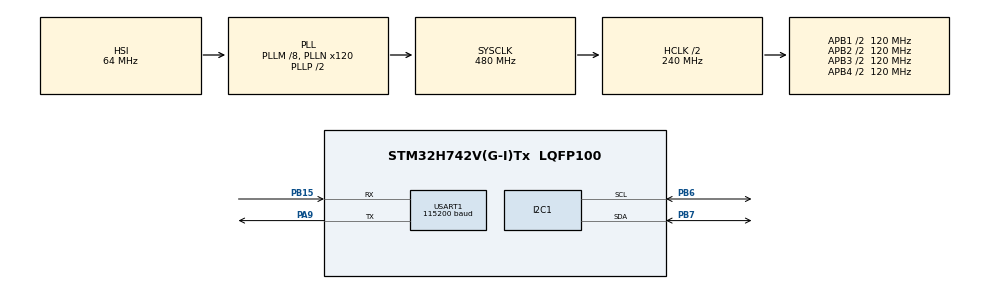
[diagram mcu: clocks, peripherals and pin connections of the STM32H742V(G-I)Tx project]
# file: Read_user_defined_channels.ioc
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CORTEX_M7.default_mode_Activation=1
I2C1.Timing=0x307075B1
Mcu.Family=STM32H7
Mcu.Name=STM32H742V(G-I)Tx
Mcu.Package=LQFP100
NVIC.PriorityGroup=NVIC_PRIORITYGROUP_4
PA9.Mode=Asynchronous
PA9.Signal=USART1_TX
PB15.Mode=Asynchronous
PB15.Signal=USART1_RX
PB6.GPIO_Pu=GPIO_PULLUP
PB6.GPIO_Speed=GPIO_SPEED_FREQ_HIGH
PB6.Mode=I2C
PB6.Signal=I2C1_SCL
PB7.GPIO_Pu=GPIO_PULLUP
PB7.GPIO_Speed=GPIO_SPEED_FREQ_HIGH
PB7.Mode=I2C
PB7.Signal=I2C1_SDA
ProjectManager.HeapSize=0x200
ProjectManager.StackSize=0x400
ProjectManager.TargetToolchain=STM32CubeIDE
RCC.ADCFreq_Value=32000000
RCC.APB1Freq_Value=120000000
RCC.APB2Freq_Value=120000000
RCC.APB3Freq_Value=120000000
RCC.APB4Freq_Value=120000000
RCC.CortexFreq_Value=480000000
RCC.D1PPRE=RCC_APB3_DIV2
RCC.D2PPRE1=RCC_APB1_DIV2
RCC.D2PPRE2=RCC_APB2_DIV2
RCC.D3PPRE=RCC_APB4_DIV2
RCC.DIVM1=8
RCC.DIVM2=8
RCC.DIVN1=120
RCC.DIVN2=64
RCC.DIVP2=16
RCC.HCLKFreq_Value=240000000
RCC.HPRE=RCC_HCLK_DIV2
RCC.PLLFRACN=0
RCC.SYSCLKFreq_VALUE=480000000
RCC.SYSCLKSource=RCC_SYSCLKSOURCE_PLLCLK
RCC.USBFreq_Value=480000000
USART1.BaudRate=115200
USART1.VirtualMode-Asynchronous=VM_ASYNC
VP_MEMORYMAP_VS_MEMORYMAP.Mode=CurAppReg
board=custom

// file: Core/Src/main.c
/* USER CODE BEGIN Header */
/**
  ******************************************************************************
  * @file           : main.c
  * @brief          : Read MPU6050 over I2C1 and stream IMU samples over USART1.
  ******************************************************************************
  * @attention
  *
  * Copyright (c) 2025 STMicroelectronics.
  * All rights reserved.
  *
  * This software is licensed under terms that can be found in the LICENSE file
  * in the root directory of this software component.
  * If no LICENSE file comes with this software, it is provided AS-IS.
  *
  ******************************************************************************
  */
/* USER CODE END Header */
#include "main.h"

/* USER CODE BEGIN Includes */
#include <stdio.h>
#include <string.h>

/* USER CODE END Includes */

/* USER CODE BEGIN PTD */
#define MPU6050_I2C_ADDR             (0x68U << 1)
#define MPU6050_REG_SMPLRT_DIV       0x19U
#define MPU6050_REG_GYRO_CONFIG      0x1BU
#define MPU6050_REG_ACCEL_CONFIG     0x1CU
#define MPU6050_REG_PWR_MGMT_1       0x6BU
#define MPU6050_REG_WHO_AM_I         0x75U
#define MPU6050_REG_ACCEL_XOUT_H     0x3BU
#define MPU6050_RAW_FRAME_SIZE       14U
#define IMU_SAMPLE_PERIOD_MS         10U
#define UART_BAUDRATE                115200U
#define IMU_STATUS_PERIOD_MS         500U
#define IMU_CSV_BUFFER_SIZE          96U

typedef struct __attribute__((packed))
{
  uint8_t  header[3];
  uint32_t timestamp_ms;
  int16_t  ch[6];
} ImuPacket;
/* USER CODE END PTD */

I2C_HandleTypeDef hi2c1;

UART_HandleTypeDef huart1;

/* USER CODE BEGIN PV */
static ImuPacket imu_packet;
static char uart_line[IMU_CSV_BUFFER_SIZE];
static uint8_t uart_ready;
/* USER CODE END PV */

void SystemClock_Config(void);
static void MPU_Config(void);
static void MX_GPIO_Init(void);
static void MX_I2C1_Init(void);
static void MX_USART1_UART_Init(void);
/* USER CODE BEGIN PFP */
static HAL_StatusTypeDef MPU6050_Init(void);
static HAL_StatusTypeDef MPU6050_ReadPacket(ImuPacket *packet);
static void UART_SendText(const char *text);
static void UART_SendImuCsv(const ImuPacket *packet);
static int16_t i16_from_be(uint8_t msb, uint8_t lsb);
/* USER CODE END PFP */

int main(void)
{

  /* MPU Configuration--------------------------------------------------------*/
  MPU_Config();

  /* MCU Configuration--------------------------------------------------------*/

  /* Reset of all peripherals, Initializes the Flash interface and the Systick. */
  HAL_Init();

  /* Configure the system clock */
  SystemClock_Config();

  /* Initialize all configured peripherals */
  MX_GPIO_Init();
  MX_I2C1_Init();
  MX_USART1_UART_Init();
  /* USER CODE BEGIN 2 */
  UART_SendText("BOOT\r\n");

  MX_I2C1_Init();

  if (MPU6050_Init() != HAL_OK)
  {
    UART_SendText("IMU INIT FAIL\r\n");
    while (1)
    {
      UART_SendText("IMU INIT FAIL\r\n");
      HAL_Delay(IMU_STATUS_PERIOD_MS);
    }
  }

  UART_SendText("IMU OK\r\n");

  /* USER CODE END 2 */

  /* Infinite loop */
  while (1)
  {

    /* USER CODE BEGIN 3 */
    if (MPU6050_ReadPacket(&imu_packet) == HAL_OK)
    {
      UART_SendImuCsv(&imu_packet);
    }
    else
    {
      UART_SendText("IMU READ FAIL\r\n");
    }

    HAL_Delay(IMU_SAMPLE_PERIOD_MS);
  }
  /* USER CODE END 3 */
}

void SystemClock_Config(void)
{
  RCC_OscInitTypeDef RCC_OscInitStruct = {0};
  RCC_ClkInitTypeDef RCC_ClkInitStruct = {0};

  /** Supply configuration update enable
  */
  HAL_PWREx_ConfigSupply(PWR_LDO_SUPPLY);

  /** Configure the main internal regulator output voltage
  */
  __HAL_PWR_VOLTAGESCALING_CONFIG(PWR_REGULATOR_VOLTAGE_SCALE0);

  while(!__HAL_PWR_GET_FLAG(PWR_FLAG_VOSRDY)) {}

  /** Initializes the RCC Oscillators according to the specified parameters
  * in the RCC_OscInitTypeDef structure.
  */
  RCC_OscInitStruct.OscillatorType = RCC_OSCILLATORTYPE_HSI;
  RCC_OscInitStruct.HSIState = RCC_HSI_DIV1;
  RCC_OscInitStruct.HSICalibrationValue = RCC_HSICALIBRATION_DEFAULT;
  RCC_OscInitStruct.PLL.PLLState = RCC_PLL_ON;
  RCC_OscInitStruct.PLL.PLLSource = RCC_PLLSOURCE_HSI;
  RCC_OscInitStruct.PLL.PLLM = 8;
  RCC_OscInitStruct.PLL.PLLN = 120;
  RCC_OscInitStruct.PLL.PLLP = 2;
  RCC_OscInitStruct.PLL.PLLQ = 2;
  RCC_OscInitStruct.PLL.PLLR = 2;
  RCC_OscInitStruct.PLL.PLLRGE = RCC_PLL1VCIRANGE_3;
  RCC_OscInitStruct.PLL.PLLVCOSEL = RCC_PLL1VCOWIDE;
  RCC_OscInitStruct.PLL.PLLFRACN = 0;
  if (HAL_RCC_OscConfig(&RCC_OscInitStruct) != HAL_OK)
  {
    Error_Handler();
  }

  /** Initializes the CPU, AHB and APB buses clocks
  */
  RCC_ClkInitStruct.ClockType = RCC_CLOCKTYPE_HCLK|RCC_CLOCKTYPE_SYSCLK
                              |RCC_CLOCKTYPE_PCLK1|RCC_CLOCKTYPE_PCLK2
                              |RCC_CLOCKTYPE_D3PCLK1|RCC_CLOCKTYPE_D1PCLK1;
  RCC_ClkInitStruct.SYSCLKSource = RCC_SYSCLKSOURCE_PLLCLK;
  RCC_ClkInitStruct.SYSCLKDivider = RCC_SYSCLK_DIV1;
  RCC_ClkInitStruct.AHBCLKDivider = RCC_HCLK_DIV2;
  RCC_ClkInitStruct.APB3CLKDivider = RCC_APB3_DIV2;
  RCC_ClkInitStruct.APB1CLKDivider = RCC_APB1_DIV2;
  RCC_ClkInitStruct.APB2CLKDivider = RCC_APB2_DIV2;
  RCC_ClkInitStruct.APB4CLKDivider = RCC_APB4_DIV2;

  if (HAL_RCC_ClockConfig(&RCC_ClkInitStruct, FLASH_LATENCY_4) != HAL_OK)
  {
    Error_Handler();
  }
}

static void MX_I2C1_Init(void)
{

  hi2c1.Instance = I2C1;
  hi2c1.Init.Timing = 0x307075B1;
  hi2c1.Init.OwnAddress1 = 0;
  hi2c1.Init.AddressingMode = I2C_ADDRESSINGMODE_7BIT;
  hi2c1.Init.DualAddressMode = I2C_DUALADDRESS_DISABLE;
  hi2c1.Init.OwnAddress2 = 0;
  hi2c1.Init.OwnAddress2Masks = I2C_OA2_NOMASK;
  hi2c1.Init.GeneralCallMode = I2C_GENERALCALL_DISABLE;
  hi2c1.Init.NoStretchMode = I2C_NOSTRETCH_DISABLE;
  if (HAL_I2C_Init(&hi2c1) != HAL_OK)
  {
    Error_Handler();
  }

  /** Configure Analogue filter
  */
  if (HAL_I2CEx_ConfigAnalogFilter(&hi2c1, I2C_ANALOGFILTER_ENABLE) != HAL_OK)
  {
    Error_Handler();
  }

  /** Configure Digital filter
  */
  if (HAL_I2CEx_ConfigDigitalFilter(&hi2c1, 0) != HAL_OK)
  {
    Error_Handler();
  }

}

static void MX_USART1_UART_Init(void)
{

  huart1.Instance = USART1;
  huart1.Init.BaudRate = 115200;
  huart1.Init.WordLength = UART_WORDLENGTH_8B;
  huart1.Init.StopBits = UART_STOPBITS_1;
  huart1.Init.Parity = UART_PARITY_NONE;
  huart1.Init.Mode = UART_MODE_TX_RX;
  huart1.Init.HwFlowCtl = UART_HWCONTROL_NONE;
  huart1.Init.OverSampling = UART_OVERSAMPLING_16;
  huart1.Init.OneBitSampling = UART_ONE_BIT_SAMPLE_DISABLE;
  huart1.Init.ClockPrescaler = UART_PRESCALER_DIV1;
  huart1.AdvancedInit.AdvFeatureInit = UART_ADVFEATURE_NO_INIT;
  if (HAL_UART_Init(&huart1) != HAL_OK)
  {
    Error_Handler();
  }
  if (HAL_UARTEx_SetTxFifoThreshold(&huart1, UART_TXFIFO_THRESHOLD_1_8) != HAL_OK)
  {
    Error_Handler();
  }
  if (HAL_UARTEx_SetRxFifoThreshold(&huart1, UART_RXFIFO_THRESHOLD_1_8) != HAL_OK)
  {
    Error_Handler();
  }
  if (HAL_UARTEx_DisableFifoMode(&huart1) != HAL_OK)
  {
    Error_Handler();
  }

}

static void MX_GPIO_Init(void)
{

  /* GPIO Ports Clock Enable */
  __HAL_RCC_GPIOB_CLK_ENABLE();
  __HAL_RCC_GPIOA_CLK_ENABLE();

}

/* USER CODE BEGIN 4 */
static HAL_StatusTypeDef MPU6050_Init(void)
{
  uint8_t check = 0U;
  uint8_t data = 0U;

  if (HAL_I2C_IsDeviceReady(&hi2c1, MPU6050_I2C_ADDR, 3, 1000) != HAL_OK)
  {
    return HAL_ERROR;
  }

  if (HAL_I2C_Mem_Read(&hi2c1,
                       MPU6050_I2C_ADDR,
                       MPU6050_REG_WHO_AM_I,
                       I2C_MEMADD_SIZE_8BIT,
                       &check,
                       1,
                       1000) != HAL_OK)
  {
    return HAL_ERROR;
  }

  if (check != 0x68U)
  {
    return HAL_ERROR;
  }

  data = 0x00U;
  if (HAL_I2C_Mem_Write(&hi2c1, MPU6050_I2C_ADDR, MPU6050_REG_PWR_MGMT_1,
                        I2C_MEMADD_SIZE_8BIT, &data, 1, 1000) != HAL_OK)
  {
    return HAL_ERROR;
  }

  data = 0x07U;
  if (HAL_I2C_Mem_Write(&hi2c1, MPU6050_I2C_ADDR, MPU6050_REG_SMPLRT_DIV,
                        I2C_MEMADD_SIZE_8BIT, &data, 1, 1000) != HAL_OK)
  {
    return HAL_ERROR;
  }

  data = 0x00U;
  if (HAL_I2C_Mem_Write(&hi2c1, MPU6050_I2C_ADDR, MPU6050_REG_ACCEL_CONFIG,
                        I2C_MEMADD_SIZE_8BIT, &data, 1, 1000) != HAL_OK)
  {
    return HAL_ERROR;
  }

  data = 0x00U;
  if (HAL_I2C_Mem_Write(&hi2c1, MPU6050_I2C_ADDR, MPU6050_REG_GYRO_CONFIG,
                        I2C_MEMADD_SIZE_8BIT, &data, 1, 1000) != HAL_OK)
  {
    return HAL_ERROR;
  }

  HAL_Delay(100);
  return HAL_OK;
}

static HAL_StatusTypeDef MPU6050_ReadPacket(ImuPacket *packet)
{
  uint8_t raw[MPU6050_RAW_FRAME_SIZE];

  if (HAL_I2C_Mem_Read(&hi2c1,
                       MPU6050_I2C_ADDR,
                       MPU6050_REG_ACCEL_XOUT_H,
                       I2C_MEMADD_SIZE_8BIT,
                       raw,
                       MPU6050_RAW_FRAME_SIZE,
                       1000) != HAL_OK)
  {
    return HAL_ERROR;
  }

  packet->header[0] = 0xAA;
  packet->header[1] = 0xBB;
  packet->header[2] = 0x00;
  packet->timestamp_ms = HAL_GetTick();
  packet->ch[0] = i16_from_be(raw[0], raw[1]);
  packet->ch[1] = i16_from_be(raw[2], raw[3]);
  packet->ch[2] = i16_from_be(raw[4], raw[5]);
  packet->ch[3] = i16_from_be(raw[8], raw[9]);
  packet->ch[4] = i16_from_be(raw[10], raw[11]);
  packet->ch[5] = i16_from_be(raw[12], raw[13]);

  return HAL_OK;
}

static void UART_SendText(const char *text)
{
  (void)HAL_UART_Transmit(&huart1,
                          (uint8_t *)text,
                          (uint16_t)strlen(text),
                          HAL_MAX_DELAY);
}

static void UART_SendImuCsv(const ImuPacket *packet)
{
  int len = snprintf(uart_line,
                     sizeof(uart_line),
                     "%lu,%d,%d,%d,%d,%d,%d\r\n",
                     (unsigned long)packet->timestamp_ms,
                     packet->ch[0],
                     packet->ch[1],
                     packet->ch[2],
                     packet->ch[3],
                     packet->ch[4],
                     packet->ch[5]);

  if (len > 0)
  {
    if ((uint32_t)len >= sizeof(uart_line))
    {
      len = sizeof(uart_line) - 1;
    }

    (void)HAL_UART_Transmit(&huart1,
                            (uint8_t *)uart_line,
                            (uint16_t)len,
                            HAL_MAX_DELAY);
  }
}

static int16_t i16_from_be(uint8_t msb, uint8_t lsb)
{
  return (int16_t)(((uint16_t)msb << 8) | lsb);
}
/* USER CODE END 4 */

 /* MPU Configuration */

void MPU_Config(void)
{
  MPU_Region_InitTypeDef MPU_InitStruct = {0};

  /* Disables the MPU */
  HAL_MPU_Disable();

  /** Initializes and configures the Region and the memory to be protected
  */
  MPU_InitStruct.Enable = MPU_REGION_ENABLE;
  MPU_InitStruct.Number = MPU_REGION_NUMBER0;
  MPU_InitStruct.BaseAddress = 0x0;
  MPU_InitStruct.Size = MPU_REGION_SIZE_4GB;
  MPU_InitStruct.SubRegionDisable = 0x87;
  MPU_InitStruct.TypeExtField = MPU_TEX_LEVEL0;
  MPU_InitStruct.AccessPermission = MPU_REGION_NO_ACCESS;
  MPU_InitStruct.DisableExec = MPU_INSTRUCTION_ACCESS_DISABLE;
  MPU_InitStruct.IsShareable = MPU_ACCESS_SHAREABLE;
  MPU_InitStruct.IsCacheable = MPU_ACCESS_NOT_CACHEABLE;
  MPU_InitStruct.IsBufferable = MPU_ACCESS_NOT_BUFFERABLE;

  HAL_MPU_ConfigRegion(&MPU_InitStruct);
  /* Enables the MPU */
  HAL_MPU_Enable(MPU_PRIVILEGED_DEFAULT);

}

void Error_Handler(void)
{
  /* USER CODE BEGIN Error_Handler_Debug */
  /* User can add his own implementation to report the HAL error return state */
  if (uart_ready != 0U)
  {
    while (1)
    {
      UART_SendText("ERROR\r\n");
      HAL_Delay(IMU_STATUS_PERIOD_MS);
    }
  }

  __disable_irq();
  while (1)
  {
  }
  /* USER CODE END Error_Handler_Debug */
}
